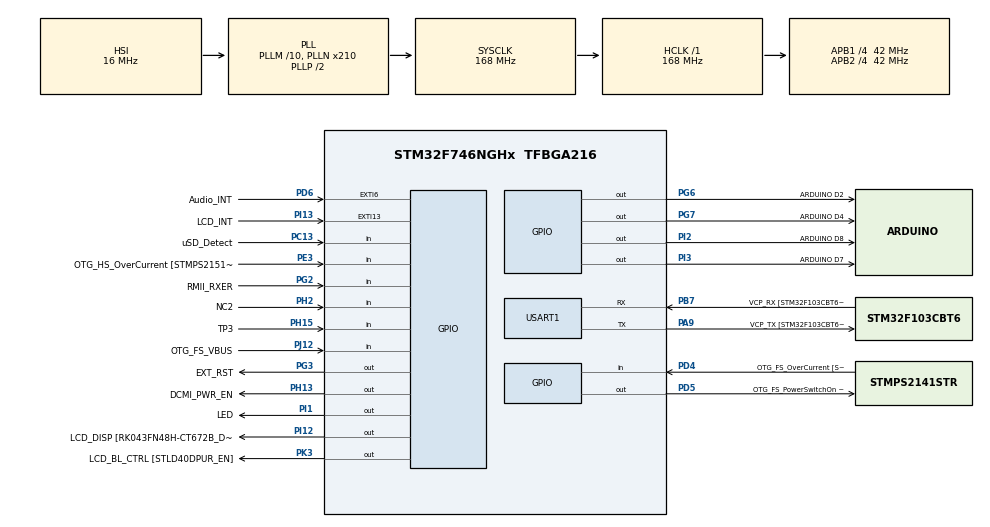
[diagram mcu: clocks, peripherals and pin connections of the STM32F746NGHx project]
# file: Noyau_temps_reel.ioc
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FREERTOS.Tasks01=defaultTask,0,128,StartDefaultTask,Default,NULL,Dynamic,NULL,NULL
FREERTOS.configCHECK_FOR_STACK_OVERFLOW=1
FREERTOS.configGENERATE_RUN_TIME_STATS=1
FREERTOS.configLIBRARY_MAX_SYSCALL_INTERRUPT_PRIORITY=8
FREERTOS.configTOTAL_HEAP_SIZE=65536
FREERTOS.configUSE_NEWLIB_REENTRANT=1
FREERTOS.configUSE_STATS_FORMATTING_FUNCTIONS=1
FREERTOS.configUSE_TRACE_FACILITY=1
Mcu.Family=STM32F7
Mcu.Name=STM32F746NGHx
Mcu.Package=TFBGA216
NVIC.PriorityGroup=NVIC_PRIORITYGROUP_4
NVIC.TIM1_UP_TIM10_IRQn=true\:8\:0\:true\:false\:true\:true\:true\:true\:true
NVIC.TIM6_DAC_IRQn=true\:15\:0\:false\:false\:true\:false\:false\:true\:true
NVIC.TimeBase=TIM6_DAC_IRQn
NVIC.TimeBaseIP=TIM6
NVIC.USART1_IRQn=true\:8\:0\:true\:false\:true\:true\:true\:true\:true
PA0/WKUP.GPIO_Label=ARDUINO A0
PA0/WKUP.GPIO_Mode=GPIO_MODE_ANALOG
PA0/WKUP.GPIO_PuPd=GPIO_NOPULL
PA0/WKUP.Signal=ADCx_IN0
PA1.GPIO_Label=RMII_REF_CLK [LAN8742A-CZ-TR_REFCLK0]
PA1.Signal=ETH_REF_CLK
PA10.GPIO_Label=OTG_FS_ID
PA10.Signal=USB_OTG_FS_ID
PA11.GPIO_Label=OTG_FS_N
PA11.Signal=USB_OTG_FS_DM
PA12.GPIO_Label=OTG_FS_P
PA12.Signal=USB_OTG_FS_DP
PA13.GPIO_Label=SWDIO
PA13.Signal=SYS_JTMS-SWDIO
PA14.GPIO_Label=SWCLK
PA14.Signal=SYS_JTCK-SWCLK
PA15.GPIO_Label=ARDUINO PWM/D9
PA15.GPIO_ModeDefaultPP=GPIO_MODE_AF_PP
PA15.GPIO_PuPd=GPIO_NOPULL
PA15.GPIO_Speed=GPIO_SPEED_FREQ_LOW
PA15.Signal=S_TIM2_CH1_ETR
PA2.GPIO_Label=RMII_MDIO [LAN8742A-CZ-TR_MDIO]
PA2.Signal=ETH_MDIO
PA3.GPIO_Label=ULPI_D0 [USB3320C-EZK_D0]
PA3.Signal=USB_OTG_HS_ULPI_D0
PA4.GPIO_Label=DCMI_HSYNC
PA4.Signal=DCMI_HSYNC
PA5.GPIO_Label=ULPI_CLK [USB3320C-EZK_CLKOUT]
PA5.Signal=USB_OTG_HS_ULPI_CK
PA6.Signal=DCMI_PIXCLK
PA7.GPIO_Label=RMII_CRS_DV [LAN8742A-CZ-TR_CRS_DV]
PA7.Signal=ETH_CRS_DV
PA8.GPIO_Label=ARDUINO PWM/D10
PA8.GPIO_ModeDefaultPP=GPIO_MODE_AF_PP
PA8.GPIO_PuPd=GPIO_NOPULL
PA8.GPIO_Speed=GPIO_SPEED_FREQ_LOW
PA8.Signal=S_TIM1_CH1
PA9.GPIO_Label=VCP_TX [STM32F103CBT6_PA3]
PA9.GPIO_Mode=GPIO_MODE_AF_PP
PA9.GPIO_PuPd=GPIO_NOPULL
PA9.GPIO_Speed=GPIO_SPEED_FREQ_LOW
PA9.Mode=Asynchronous
PA9.Signal=USART1_TX
PB0.GPIO_Label=ULPI_D1 [USB3320C-EZK_D1]
PB0.Signal=USB_OTG_HS_ULPI_D1
PB1.GPIO_Label=ULPI_D2 [USB3320C-EZK_D2]
PB1.Signal=USB_OTG_HS_ULPI_D2
PB10.GPIO_Label=ULPI_D3 [USB3320C-EZK_D3]
PB10.Signal=USB_OTG_HS_ULPI_D3
PB11.GPIO_Label=ULPI_D4 [USB3320C-EZK_D4]
PB11.Signal=USB_OTG_HS_ULPI_D4
PB12.GPIO_Label=ULPI_D5 [USB3320C-EZK_D5]
PB12.Signal=USB_OTG_HS_ULPI_D5
PB13.GPIO_Label=ULPI_D6 [USB3320C-EZK_D6]
PB13.Signal=USB_OTG_HS_ULPI_D6
PB14.GPIO_Label=ARDUINO MISO/D12
PB14.GPIO_Mode=GPIO_MODE_AF_PP
PB14.GPIO_PuPd=GPIO_NOPULL
PB14.GPIO_Speed=GPIO_SPEED_FREQ_LOW
PB14.Signal=SPI2_MISO
PB15.GPIO_Label=ARDUINO MOSI/PWM/D11
PB15.GPIO_Mode=GPIO_MODE_AF_PP
PB15.GPIO_PuPd=GPIO_NOPULL
PB15.GPIO_Speed=GPIO_SPEED_FREQ_LOW
PB15.Signal=SPI2_MOSI
PB2.Signal=QUADSPI_CLK
PB3.GPIO_Label=SWO
PB3.Signal=SYS_JTDO-SWO
PB4.GPIO_Label=ARDUINO PWM/D3
PB4.GPIO_ModeDefaultPP=GPIO_MODE_AF_PP
PB4.GPIO_PuPd=GPIO_NOPULL
PB4.GPIO_Speed=GPIO_SPEED_FREQ_LOW
PB4.Signal=S_TIM3_CH1
PB5.GPIO_Label=ULPI_D7 [USB3320C-EZK_D7]
PB5.Signal=USB_OTG_HS_ULPI_D7
PB6.GPIO_Label=QSPI_NCS [N25Q128A13EF840E_S]
PB6.Signal=QUADSPI_BK1_NCS
PB7.GPIO_Label=VCP_RX [STM32F103CBT6_PA2]
PB7.GPIO_Mode=GPIO_MODE_AF_PP
PB7.GPIO_PuPd=GPIO_NOPULL
PB7.GPIO_Speed=GPIO_SPEED_FREQ_LOW
PB7.Mode=Asynchronous
PB7.Signal=USART1_RX
PB8.GPIO_Label=ARDUINO SCL/D15
PB8.GPIO_Mode=GPIO_MODE_AF_OD
PB8.GPIO_PuPd=GPIO_NOPULL
PB8.GPIO_Speed=GPIO_SPEED_FREQ_LOW
PB8.Signal=I2C1_SCL
PB9.GPIO_Label=ARDUINO SDA/D14
PB9.GPIO_Mode=GPIO_MODE_AF_OD
PB9.GPIO_PuPd=GPIO_NOPULL
PB9.GPIO_Speed=GPIO_SPEED_FREQ_LOW
PB9.Signal=I2C1_SDA
PC0.GPIO_Label=ULPI_STP [USB3320C-EZK_STP]
PC0.Signal=USB_OTG_HS_ULPI_STP
PC1.GPIO_Label=RMII_MDC [LAN8742A-CZ-TR_MDC]
PC1.Signal=ETH_MDC
PC10.GPIO_Label=SDMMC_D2
PC10.Signal=SDMMC1_D2
PC11.GPIO_Label=SDMMC_D3
PC11.Signal=SDMMC1_D3
PC12.GPIO_Label=SDMMC_CK
PC12.Signal=SDMMC1_CK
PC13.GPIO_Label=uSD_Detect
PC13.Signal=GPIO_Input
PC14/OSC32_IN.GPIO_Label=RCC_OSC32_IN
PC14/OSC32_IN.Signal=RCC_OSC32_IN
PC15/OSC32_OUT.GPIO_Label=RCC_OSC32_OUT
PC15/OSC32_OUT.Signal=RCC_OSC32_OUT
PC2.GPIO_Label=ULPI_DIR [USB3320C-EZK_DIR]
PC2.Signal=USB_OTG_HS_ULPI_DIR
PC3.GPIO_Label=FMC_SDCKE0 [MT48LC4M32B2B5-6A_CKE]
PC3.Signal=FMC_SDCKE0
PC4.GPIO_Label=RMII_RXD0 [LAN8742A-CZ-TR_RXD0]
PC4.Signal=ETH_RXD0
PC5.GPIO_Label=RMII_RXD1 [LAN8742A-CZ-TR_RXD1]
PC5.Signal=ETH_RXD1
PC6.GPIO_Label=ARDUINO TX/D1
PC6.Signal=USART6_TX
PC7.GPIO_Label=ARDUINO RX/D0
PC7.Signal=USART6_RX
PC8.Signal=SDMMC1_D0
PC9.Signal=SDMMC1_D1
PD0.GPIO_Label=FMC_D2 [MT48LC4M32B2B5-6A_DQ2]
PD0.Signal=FMC_D2_DA2
PD1.GPIO_Label=FMC_D3 [MT48LC4M32B2B5-6A_DQ3]
PD1.Signal=FMC_D3_DA3
PD10.GPIO_Label=FMC_D15 [MT48LC4M32B2B5-6A_DQ15]
PD10.Signal=FMC_D15_DA15
PD11.GPIO_Label=QSPI_D0 [N25Q128A13EF840E_DQ0]
PD11.Signal=QUADSPI_BK1_IO0
PD12.GPIO_Label=QSPI_D1 [N25Q128A13EF840E_DQ1]
PD12.Signal=QUADSPI_BK1_IO1
PD13.GPIO_Label=QSPI_D3 [N25Q128A13EF840E_DQ3]
PD13.Signal=QUADSPI_BK1_IO3
PD14.GPIO_Label=FMC_D0 [MT48LC4M32B2B5-6A_DQ0]
PD14.Signal=FMC_D0_DA0
PD15.GPIO_Label=FMC_D1 [MT48LC4M32B2B5-6A_DQ1]
PD15.Signal=FMC_D1_DA1
PD2.GPIO_Label=SDMMC_D0
PD2.Signal=SDMMC1_CMD
PD3.GPIO_Label=DCMI_D5
PD3.Signal=DCMI_D5
PD4.GPIO_Label=OTG_FS_OverCurrent [STMPS2141STR_Fault]
PD4.Signal=GPIO_Input
PD5.GPIO_Label=OTG_FS_PowerSwitchOn [STMPS2141STR_EN]
PD5.PinState=GPIO_PIN_SET
PD5.Signal=GPIO_Output
PD6.GPIO_Label=Audio_INT
PD6.GPIO_ModeDefaultEXTI=GPIO_MODE_EVT_RISING
PD6.Signal=GPXTI6
PD7.GPIO_Label=SPDIF_RX0 [74LVC1G04SE_4]
PD7.Signal=SPDIFRX_IN0
PD8.GPIO_Label=FMC_D13 [MT48LC4M32B2B5-6A_DQ13]
PD8.Signal=FMC_D13_DA13
PD9.GPIO_Label=FMC_D14 [MT48LC4M32B2B5-6A_DQ14]
PD9.Signal=FMC_D14_DA14
PE0.GPIO_Label=FMC_NBL0 [MT48LC4M32B2B5-6A_DQM0]
PE0.Signal=FMC_NBL0
PE1.GPIO_Label=FMC_NBL1 [MT48LC4M32B2B5-6A_DQM1]
PE1.Signal=FMC_NBL1
PE10.GPIO_Label=FMC_D7 [MT48LC4M32B2B5-6A_DQ7]
PE10.Signal=FMC_D7_DA7
PE11.GPIO_Label=FMC_D8 [MT48LC4M32B2B5-6A_DQ8]
PE11.Signal=FMC_D8_DA8
PE12.GPIO_Label=FMC_D9 [MT48LC4M32B2B5-6A_DQ9]
PE12.Signal=FMC_D9_DA9
PE13.GPIO_Label=FMC_D10 [MT48LC4M32B2B5-6A_DQ10]
PE13.Signal=FMC_D10_DA10
PE14.GPIO_Label=FMC_D11 [MT48LC4M32B2B5-6A_DQ11]
PE14.Signal=FMC_D11_DA11
PE15.GPIO_Label=FMC_D12 [MT48LC4M32B2B5-6A_DQ12]
PE15.Signal=FMC_D12_DA12
PE2.GPIO_Label=QSPI_D2 [N25Q128A13EF840E_DQ2]
PE2.Signal=QUADSPI_BK1_IO2
PE3.GPIO_Label=OTG_HS_OverCurrent [STMPS2151STR_FAULT]
PE3.Signal=GPIO_Input
PE4.GPIO_Label=LCD_B0 [RK043FN48H-CT672B_B0]
PE4.Signal=LTDC_B0
PE5.GPIO_Label=DCMI_D6
PE5.Signal=DCMI_D6
PE6.GPIO_Label=DCMI_D7
PE6.Signal=DCMI_D7
PE7.GPIO_Label=FMC_D4 [MT48LC4M32B2B5-6A_DQ4]
PE7.Signal=FMC_D4_DA4
PE8.GPIO_Label=FMC_D5 [MT48LC4M32B2B5-6A_DQ5]
PE8.Signal=FMC_D5_DA5
PE9.GPIO_Label=FMC_D6 [MT48LC4M32B2B5-6A_DQ6]
PE9.Signal=FMC_D6_DA6
PF0.GPIO_Label=FMC_A0 [MT48LC4M32B2B5-6A_A0]
PF0.Signal=FMC_A0
PF1.GPIO_Label=FMC_A1 [MT48LC4M32B2B5-6A_A1]
PF1.Signal=FMC_A1
PF10.GPIO_Label=ARDUINO A1
PF10.GPIO_Mode=GPIO_MODE_ANALOG
PF10.GPIO_PuPd=GPIO_NOPULL
PF10.Signal=ADC3_IN8
PF11.GPIO_Label=FMC_SDNRAS [MT48LC4M32B2B5-6A_RAS]
PF11.Signal=FMC_SDNRAS
PF12.GPIO_Label=FMC_A6 [MT48LC4M32B2B5-6A_A6]
PF12.Signal=FMC_A6
PF13.GPIO_Label=FMC_A7 [MT48LC4M32B2B5-6A_A7]
PF13.Signal=FMC_A7
PF14.GPIO_Label=FMC_A8 [MT48LC4M32B2B5-6A_A8]
PF14.Signal=FMC_A8
PF15.GPIO_Label=FMC_A9 [MT48LC4M32B2B5-6A_A9]
PF15.Signal=FMC_A9
PF2.GPIO_Label=FMC_A2 [MT48LC4M32B2B5-6A_A2]
PF2.Signal=FMC_A2
PF3.GPIO_Label=FMC_A3 [MT48LC4M32B2B5-6A_A3]
PF3.Signal=FMC_A3
PF4.GPIO_Label=FMC_A4 [MT48LC4M32B2B5-6A_A4]
PF4.Signal=FMC_A4
PF5.GPIO_Label=FMC_A5 [MT48LC4M32B2B5-6A_A5]
PF5.Signal=FMC_A5
PF6.GPIO_Label=ARDUINO A5
PF6.GPIO_Mode=GPIO_MODE_ANALOG
PF6.GPIO_PuPd=GPIO_NOPULL
PF6.Signal=ADC3_IN4
PF7.GPIO_Label=ARDUINO A4
PF7.GPIO_Mode=GPIO_MODE_ANALOG
PF7.GPIO_PuPd=GPIO_NOPULL
PF7.Signal=ADC3_IN5
PF8.GPIO_Label=ARDUINO A3
PF8.GPIO_Mode=GPIO_MODE_ANALOG
PF8.GPIO_PuPd=GPIO_NOPULL
PF8.Signal=ADC3_IN6
PF9.GPIO_Label=ARDUINO A2
PF9.GPIO_Mode=GPIO_MODE_ANALOG
PF9.GPIO_PuPd=GPIO_NOPULL
PF9.Signal=ADC3_IN7
PG0.GPIO_Label=FMC_A10 [MT48LC4M32B2B5-6A_A10]
PG0.Signal=FMC_A10
PG1.GPIO_Label=FMC_A11 [MT48LC4M32B2B5-6A_A11]
PG1.Signal=FMC_A11
PG10.GPIO_Label=SAI2_SDB [WM8994ECS/R_ADCDAT1]
PG10.Signal=SAI2_SD_B
PG11.GPIO_Label=RMII_TX_EN [LAN8742A-CZ-TR_TXEN]
PG11.Signal=ETH_TX_EN
PG12.GPIO_Label=LCD_B4 [RK043FN48H-CT672B_B4]
PG12.Signal=LTDC_B4
PG13.GPIO_Label=RMII_TXD0 [LAN8742A-CZ-TR_TXD0]
PG13.Signal=ETH_TXD0
PG14.GPIO_Label=RMII_TXD1 [LAN8742A-CZ-TR_TXD1]
PG14.Signal=ETH_TXD1
PG15.GPIO_Label=FMC_SDNCAS [MT48LC4M32B2B5-6A_CAS]
PG15.Signal=FMC_SDNCAS
PG2.GPIO_Label=RMII_RXER
PG2.Signal=GPIO_Input
PG3.GPIO_Label=EXT_RST
PG3.Signal=GPIO_Output
PG4.GPIO_Label=FMC_BA0 [MT48LC4M32B2B5-6A_BA0]
PG4.Signal=FMC_A14_BA0
PG5.GPIO_Label=FMC_BA1 [MT48LC4M32B2B5-6A_BA1]
PG5.Signal=FMC_A15_BA1
PG6.GPIO_Label=ARDUINO D2
PG6.Signal=GPIO_Output
PG7.GPIO_Label=ARDUINO D4
PG7.Signal=GPIO_Output
PG8.GPIO_Label=FMC_SDCLK [MT48LC4M32B2B5-6A_CLK]
PG8.Signal=FMC_SDCLK
PG9.GPIO_Label=DCMI_VSYNC
PG9.Signal=DCMI_VSYNC
PH0/OSC_IN.GPIO_Label=OSC_25M [NZ2520SB-25.00M_OUT]
PH0/OSC_IN.Signal=RCC_OSC_IN
PH1/OSC_OUT.Signal=RCC_OSC_OUT
PH10.GPIO_Label=DCMI_D1
PH10.Signal=DCMI_D1
PH11.GPIO_Label=DCMI_D2
PH11.Signal=DCMI_D2
PH12.GPIO_Label=DCMI_D3
PH12.Signal=DCMI_D3
PH13.GPIO_Label=DCMI_PWR_EN
PH13.Signal=GPIO_Output
PH14.GPIO_Label=DCMI_D4
PH14.Signal=DCMI_D4
PH15.GPIO_Label=TP3
PH15.Signal=GPIO_Input
PH2.GPIO_Label=NC2
PH2.Signal=GPIO_Input
PH3.GPIO_Label=FMC_SDNE0 [MT48LC4M32B2B5-6A_CS]
PH3.Signal=FMC_SDNE0
PH4.GPIO_Label=ULPI_NXT [USB3320C-EZK_NXT]
PH4.Signal=USB_OTG_HS_ULPI_NXT
PH5.GPIO_Label=FMC_SDNME [MT48LC4M32B2B5-6A_WE]
PH5.Signal=FMC_SDNWE
PH6.GPIO_Label=ARDUINO PWM/D6
PH6.Signal=S_TIM12_CH1
PH7.GPIO_Label=LCD_SCL [RK043FN48H-CT672B_SCL]
PH7.Signal=I2C3_SCL
PH8.GPIO_Label=LCD_SDA [RK043FN48H-CT672B_SDA]
PH8.Signal=I2C3_SDA
PH9.GPIO_Label=DCMI_D0
PH9.Signal=DCMI_D0
PI0.GPIO_Label=ARDUINO PWM/CS/D5
PI0.GPIO_ModeDefaultPP=GPIO_MODE_AF_PP
PI0.GPIO_PuPd=GPIO_NOPULL
PI0.GPIO_Speed=GPIO_SPEED_FREQ_LOW
PI0.Signal=S_TIM5_CH4
PI1.GPIO_Label=LED
PI1.Signal=GPIO_Output
PI10.GPIO_Label=LCD_HSYNC [RK043FN48H-CT672B_HSYNC]
PI10.Signal=LTDC_HSYNC
PI12.GPIO_Label=LCD_DISP [RK043FN48H-CT672B_DISP] 
PI12.Signal=GPIO_Output
PI13.GPIO_Label=LCD_INT
PI13.GPIO_ModeDefaultEXTI=GPIO_MODE_EVT_RISING
PI13.Signal=GPXTI13
PI14.GPIO_Label=LCD_CLK [RK043FN48H-CT672B_CLK]
PI14.Signal=LTDC_CLK
PI15.GPIO_Label=LCD_R0 [RK043FN48H-CT672B_R0]
PI15.Signal=LTDC_R0
PI2.GPIO_Label=ARDUINO D8
PI2.Signal=GPIO_Output
PI3.GPIO_Label=ARDUINO D7
PI3.Signal=GPIO_Output
PI4.GPIO_Label=SAI2_MCLKA [WM8994ECS/R_MCLK1]
PI4.Signal=SAI2_MCLK_A
PI5.GPIO_Label=SAI2_SCKA [WM8994ECS/R_BCLK1]
PI5.Signal=SAI2_SCK_A
PI7.GPIO_Label=SAI2_FSA [WM8994ECS/R_LRCLK1]
PI7.Signal=SAI2_FS_A
PI8.GPIO_Label=NC1 [TP2]
PI8.Signal=RTC_TS
PI9.GPIO_Label=LCD_VSYNC [RK043FN48H-CT672B_VSYNC]
PI9.Signal=LTDC_VSYNC
PJ0.GPIO_Label=LCD_R1 [RK043FN48H-CT672B_R1]
PJ0.Signal=LTDC_R1
PJ1.GPIO_Label=LCD_R2 [RK043FN48H-CT672B_R2]
PJ1.Signal=LTDC_R2
PJ10.GPIO_Label=LCD_G3 [RK043FN48H-CT672B_G3]
PJ10.Signal=LTDC_G3
PJ11.GPIO_Label=LCD_G4 [RK043FN48H-CT672B_G4]
PJ11.Signal=LTDC_G4
PJ12.GPIO_Label=OTG_FS_VBUS
PJ12.Signal=GPIO_Input
PJ13.GPIO_Label=LCD_B1 [RK043FN48H-CT672B_B1]
PJ13.Signal=LTDC_B1
PJ14.GPIO_Label=LCD_B2 [RK043FN48H-CT672B_B2]
PJ14.Signal=LTDC_B2
PJ15.GPIO_Label=LCD_B3 [RK043FN48H-CT672B_B3]
PJ15.Signal=LTDC_B3
PJ2.GPIO_Label=LCD_R3 [RK043FN48H-CT672B_R3]
PJ2.Signal=LTDC_R3
PJ3.GPIO_Label=LCD_R4 [RK043FN48H-CT672B_R4]
PJ3.Signal=LTDC_R4
PJ4.GPIO_Label=LCD_R5 [RK043FN48H-CT672B_R5]
PJ4.Signal=LTDC_R5
PJ5.GPIO_Label=LCD_R6 [RK043FN48H-CT672B_R6]
PJ5.Signal=LTDC_R6
PJ6.GPIO_Label=LCD_R7 [RK043FN48H-CT672B_R7]
PJ6.Signal=LTDC_R7
PJ7.GPIO_Label=LCD_G0 [RK043FN48H-CT672B_G0]
PJ7.Signal=LTDC_G0
PJ8.GPIO_Label=LCD_G1 [RK043FN48H-CT672B_G1]
PJ8.Signal=LTDC_G1
PJ9.GPIO_Label=LCD_G2 [RK043FN48H-CT672B_G2]
PJ9.Signal=LTDC_G2
PK0.GPIO_Label=LCD_G5 [RK043FN48H-CT672B_G5]
PK0.Signal=LTDC_G5
PK1.GPIO_Label=LCD_G6 [RK043FN48H-CT672B_G6]
PK1.Signal=LTDC_G6
PK2.GPIO_Label=LCD_G7 [RK043FN48H-CT672B_G7]
PK2.Signal=LTDC_G7
PK3.GPIO_Label=LCD_BL_CTRL [STLD40DPUR_EN]
PK3.Signal=GPIO_Output
PK4.GPIO_Label=LCD_B5 [RK043FN48H-CT672B_B5]
PK4.Signal=LTDC_B5
PK5.GPIO_Label=LCD_B6 [RK043FN48H-CT672B_B6]
PK5.Signal=LTDC_B6
PK6.GPIO_Label=LCD_B7 [RK043FN48H-CT672B_B7]
PK6.Signal=LTDC_B7
PK7.GPIO_Label=LCD_DE [RK043FN48H-CT672B_DE]
PK7.Signal=LTDC_DE
ProjectManager.HeapSize=0x200
ProjectManager.StackSize=0x400
ProjectManager.TargetToolchain=STM32CubeIDE
RCC.AHBFreq_Value=168000000
RCC.APB1CLKDivider=RCC_HCLK_DIV4
RCC.APB1Freq_Value=42000000
RCC.APB1TimFreq_Value=84000000
RCC.APB2CLKDivider=RCC_HCLK_DIV4
RCC.APB2Freq_Value=42000000
RCC.APB2TimFreq_Value=84000000
RCC.CortexFreq_Value=168000000
RCC.HCLKFreq_Value=168000000
RCC.HSE_VALUE=25000000
RCC.HSI_VALUE=16000000
RCC.LSE_VALUE=32768
RCC.PLLM=10
RCC.PLLN=210
RCC.PLLSourceVirtual=RCC_PLLSOURCE_HSI
RCC.SYSCLKFreq_VALUE=168000000
RCC.SYSCLKSource=RCC_SYSCLKSOURCE_PLLCLK
RCC.USBFreq_Value=168000000
RCC.VCOOutputFreq_Value=336000000
SH.ADCx_IN0.0=ADC3_IN0
SH.FMC_A0.0=FMC_A0
SH.FMC_A1.0=FMC_A1
SH.FMC_A10.0=FMC_A10
SH.FMC_A11.0=FMC_A11
SH.FMC_A14_BA0.0=FMC_BA0
SH.FMC_A15_BA1.0=FMC_BA1
SH.FMC_A2.0=FMC_A2
SH.FMC_A3.0=FMC_A3
SH.FMC_A4.0=FMC_A4
SH.FMC_A5.0=FMC_A5
SH.FMC_A6.0=FMC_A6
SH.FMC_A7.0=FMC_A7
SH.FMC_A8.0=FMC_A8
SH.FMC_A9.0=FMC_A9
SH.FMC_D0_DA0.0=FMC_D0
SH.FMC_D10_DA10.0=FMC_D10
SH.FMC_D11_DA11.0=FMC_D11
SH.FMC_D12_DA12.0=FMC_D12
SH.FMC_D13_DA13.0=FMC_D13
SH.FMC_D14_DA14.0=FMC_D14
SH.FMC_D15_DA15.0=FMC_D15
SH.FMC_D1_DA1.0=FMC_D1
SH.FMC_D2_DA2.0=FMC_D2
SH.FMC_D3_DA3.0=FMC_D3
SH.FMC_D4_DA4.0=FMC_D4
SH.FMC_D5_DA5.0=FMC_D5
SH.FMC_D6_DA6.0=FMC_D6
SH.FMC_D7_DA7.0=FMC_D7
SH.FMC_D8_DA8.0=FMC_D8
SH.FMC_D9_DA9.0=FMC_D9
SH.FMC_NBL0.0=FMC_NBL0
SH.FMC_NBL1.0=FMC_NBL1
SH.FMC_SDCLK.0=FMC_SDCLK
SH.FMC_SDNCAS.0=FMC_SDNCAS
SH.FMC_SDNRAS.0=FMC_SDNRAS
SH.FMC_SDNWE.0=FMC_SDNWE
SH.S_TIM12_CH1.0=TIM12_CH1
SH.S_TIM1_CH1.0=TIM1_CH1
SH.S_TIM2_CH1_ETR.0=TIM2_CH1
SH.S_TIM3_CH1.0=TIM3_CH1
SH.S_TIM5_CH4.0=TIM5_CH4
TIM10.Period=840-1
USART1.VirtualMode-Asynchronous=VM_ASYNC
VP_FREERTOS_VS_CMSIS_V1.Mode=CMSIS_V1
VP_SYS_VS_tim6.Mode=TIM6
VP_TIM10_VS_ClockSourceINT.Mode=Enable_Timer
board=STM32F746G-DISCO

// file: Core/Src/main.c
/* USER CODE BEGIN Header */
/**
 ******************************************************************************
 * @file           : main.c
 * @brief          : Main program body
 ******************************************************************************
 * @attention
 *
 * Copyright (c) 2022 STMicroelectronics.
 * All rights reserved.
 *
 * This software is licensed under terms that can be found in the LICENSE file
 * in the root directory of this software component.
 * If no LICENSE file comes with this software, it is provided AS-IS.
 *
 ******************************************************************************
 */
/* USER CODE END Header */
#include "main.h"
#include "cmsis_os.h"
#include "tim.h"
#include "usart.h"
#include "gpio.h"

/* USER CODE BEGIN Includes */
#include <stdio.h>
#include <stdlib.h>
#include "basic_shell.h"

#include "fonctions_shell.h"
/* USER CODE END Includes */

/* USER CODE BEGIN PM */
BaseType_t xReturned;
SemaphoreHandle_t semaphori ,semaphore_led;

TaskHandle_t xHandleLED, xHandleSHELL = NULL;
TaskHandle_t xHandleBidon1 , xHandleBidon2, xHandleBidon3, xHandleBidon4, xHandleBidon5, xHandleBidon6, xHandleBidon7, xHandleBidon8  = NULL;

/* USER CODE END PM */

/* USER CODE BEGIN PV */

int LED_DELAY = 500;
int BIDON_FLAG = 0;
int SOV_FLAG = 0;

/* USER CODE END PV */

void SystemClock_Config(void);
void MX_FREERTOS_Init(void);

/* USER CODE BEGIN 0 */

volatile unsigned long ulHighFrequencyTimerTicks;

void configureTimerForRunTimeStats(void) {
  ulHighFrequencyTimerTicks = 0;
  HAL_TIM_Base_Start_IT(&htim10);
}

unsigned long getRunTimeCounterValue(void) {
  return ulHighFrequencyTimerTicks;
}

int __io_putchar(int ch)
{
	HAL_UART_Transmit(&huart1, (uint8_t*)&ch, 1, HAL_MAX_DELAY);

	return ch;
}

/*
 * Code d'une tache bidon
 */
void codeTache (void * pvParameters) {
	int compteur = 0;
	int duree = (int) pvParameters;
	char* s = pcTaskGetName(xTaskGetCurrentTaskHandle());
	while (1) {
		printf("Je suis la tache %s et je m'endors pour %d periodes\n", s, duree);
		vTaskDelay(duree);
		compteur++;
	}
}

/* USER CODE END 0 */

int main(void)
{

  /* MCU Configuration--------------------------------------------------------*/

  /* Reset of all peripherals, Initializes the Flash interface and the Systick. */
  HAL_Init();

  /* Configure the system clock */
  SystemClock_Config();

  /* Initialize all configured peripherals */
  MX_GPIO_Init();
  MX_USART1_UART_Init();
  MX_TIM10_Init();
  /* USER CODE BEGIN 2 */
  printf("Init\r\n");
  semaphori = xSemaphoreCreateBinary();
  semaphore_led = xSemaphoreCreateBinary();

  if (semaphori == NULL) Error_Handler();
  if (semaphore_led == NULL) Error_Handler();

  xReturned = xTaskCreate(
    		led, 			// Function that implements the task.
    		"LED", 			// Text name for the task.
    		STACK_SIZE, 	// Stack size in words, not bytes.
    		(void *)LED_DELAY, // Parameter passed into the task.
    		LED_PRIORITY,	// Priority at which the task is created.
    		&xHandleLED ); // Used to pass out the created task's handle.

  if(xReturned == pdTRUE)
  {
	  printf("LED task created \r\n");
  }
  else
  {
	  printf("Error LED task not created \r\n");
	  Error_Handler();
  }

  xReturned = xTaskCreate(
      		shell_run, /* Function that implements the task. */
      		"SHELL", /* Text name for the task. */
      		STACK_SIZE, /* Stack size in words, not bytes. */
      		(void *) pdTRUE, /* Parameter passed into the task. */
      		SHELL_PRIORITY,/* Priority at which the task is created. */
      		&xHandleSHELL ); /* Used to pass out the created task's handle. */

  if(xReturned == pdTRUE)
  {
	  printf("Shell task created \r\n");
  }
  else
  {
	  printf("Error Shell task not created \r\n");
	  Error_Handler();
  }

  /*
   * Debut de fonction bidons à STACK_SIZE_BIDON 4096
   */

  if (SOV_FLAG){
	  xReturned = xTaskCreate(
				codeTache, 			// Function that implements the task.
				"Bidon1", 			// Text name for the task.
				small_STACK_SIZE, 	// Stack size in words, not bytes.
				(void *)NULL, // Parameter passed into the task.
				BIDON_PRIORITY,	// Priority at which the task is created.
				&xHandleBidon1 ); // Used to pass out the created task's handle.

	  if(xReturned == pdTRUE)
	  {
		  printf("Bidon1 task created \r\n");
	  }
	  else
	  {
		  printf("Error Bidon1 task not created \r\n");
		  Error_Handler();
	  }
  }

  if (BIDON_FLAG){

	  xReturned = xTaskCreate(
				codeTache, 			// Function that implements the task.
				"Bidon2", 			// Text name for the task.
				STACK_SIZE, 	// Stack size in words, not bytes.
				(void *)NULL, // Parameter passed into the task.
				BIDON_PRIORITY,	// Priority at which the task is created.
				&xHandleBidon2 ); // Used to pass out the created task's handle.

	  if(xReturned == pdTRUE)
	  {
		  printf("Bidon2 task created \r\n");
	  }
	  else
	  {
		  printf("Error Bidon2 task not created \r\n");
		  Error_Handler();
	  }

	  xReturned = xTaskCreate(
				codeTache, 			// Function that implements the task.
				"Bidon3", 			// Text name for the task.
				STACK_SIZE_BIDON, 	// Stack size in words, not bytes.
				(void *)NULL, // Parameter passed into the task.
				BIDON_PRIORITY,	// Priority at which the task is created.
				&xHandleBidon3 ); // Used to pass out the created task's handle.

	  if(xReturned == pdTRUE)
	  {
		  printf("Bidon3 task created \r\n");
	  }
	  else
	  {
		  printf("Error Bidon3 task not created \r\n");
		  Error_Handler();
	  }

  }

	shell_init();
	shell_add('f', fonction, "Une fonction inutile");
	shell_add('a', addition, "addition de deux entiers");
	shell_add('l', setLedRate, "faire clignoter la led a la frequence 1/p");
	shell_add('s', spammer, "spam un mot le nombre que vous donnez en argument");

	vTaskStartScheduler();

	//shell_run(&h_shell); <-- plus besoin car appelée a la creation de la task
  /* USER CODE END 2 */

  /* Call init function for freertos objects (in freertos.c) */
  MX_FREERTOS_Init();

  /* Start scheduler */
  osKernelStart();

  /* We should never get here as control is now taken by the scheduler */
  /* Infinite loop */
	while (1)
	{

	}
}

void SystemClock_Config(void)
{
  RCC_OscInitTypeDef RCC_OscInitStruct = {0};
  RCC_ClkInitTypeDef RCC_ClkInitStruct = {0};

  /** Configure the main internal regulator output voltage
  */
  __HAL_RCC_PWR_CLK_ENABLE();
  __HAL_PWR_VOLTAGESCALING_CONFIG(PWR_REGULATOR_VOLTAGE_SCALE2);

  /** Initializes the RCC Oscillators according to the specified parameters
  * in the RCC_OscInitTypeDef structure.
  */
  RCC_OscInitStruct.OscillatorType = RCC_OSCILLATORTYPE_HSI;
  RCC_OscInitStruct.HSIState = RCC_HSI_ON;
  RCC_OscInitStruct.HSICalibrationValue = RCC_HSICALIBRATION_DEFAULT;
  RCC_OscInitStruct.PLL.PLLState = RCC_PLL_ON;
  RCC_OscInitStruct.PLL.PLLSource = RCC_PLLSOURCE_HSI;
  RCC_OscInitStruct.PLL.PLLM = 10;
  RCC_OscInitStruct.PLL.PLLN = 210;
  RCC_OscInitStruct.PLL.PLLP = RCC_PLLP_DIV2;
  RCC_OscInitStruct.PLL.PLLQ = 2;
  if (HAL_RCC_OscConfig(&RCC_OscInitStruct) != HAL_OK)
  {
    Error_Handler();
  }

  /** Initializes the CPU, AHB and APB buses clocks
  */
  RCC_ClkInitStruct.ClockType = RCC_CLOCKTYPE_HCLK|RCC_CLOCKTYPE_SYSCLK
                              |RCC_CLOCKTYPE_PCLK1|RCC_CLOCKTYPE_PCLK2;
  RCC_ClkInitStruct.SYSCLKSource = RCC_SYSCLKSOURCE_PLLCLK;
  RCC_ClkInitStruct.AHBCLKDivider = RCC_SYSCLK_DIV1;
  RCC_ClkInitStruct.APB1CLKDivider = RCC_HCLK_DIV4;
  RCC_ClkInitStruct.APB2CLKDivider = RCC_HCLK_DIV4;

  if (HAL_RCC_ClockConfig(&RCC_ClkInitStruct, FLASH_LATENCY_5) != HAL_OK)
  {
    Error_Handler();
  }
}

void HAL_TIM_PeriodElapsedCallback(TIM_HandleTypeDef *htim)
{
  if (htim->Instance == TIM6) {
    HAL_IncTick();
  }
}

void Error_Handler(void)
{
	__disable_irq();
	while (1)
	{
	}
}

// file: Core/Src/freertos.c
/* USER CODE BEGIN Header */
/**
  ******************************************************************************
  * File Name          : freertos.c
  * Description        : Code for freertos applications
  ******************************************************************************
  * @attention
  *
  * Copyright (c) 2023 STMicroelectronics.
  * All rights reserved.
  *
  * This software is licensed under terms that can be found in the LICENSE file
  * in the root directory of this software component.
  * If no LICENSE file comes with this software, it is provided AS-IS.
  *
  ******************************************************************************
  */
/* USER CODE END Header */

#include "FreeRTOS.h"
#include "task.h"
#include "main.h"
#include "cmsis_os.h"

osThreadId defaultTaskHandle;

void StartDefaultTask(void const * argument);

void MX_FREERTOS_Init(void); /* (MISRA C 2004 rule 8.1) */

/* GetIdleTaskMemory prototype (linked to static allocation support) */
void vApplicationGetIdleTaskMemory( StaticTask_t **ppxIdleTaskTCBBuffer, StackType_t **ppxIdleTaskStackBuffer, uint32_t *pulIdleTaskStackSize );

/* Hook prototypes */
void configureTimerForRunTimeStats(void);
unsigned long getRunTimeCounterValue(void);
void vApplicationStackOverflowHook(xTaskHandle xTask, signed char *pcTaskName);

/* USER CODE BEGIN 1 */
/* Functions needed when configGENERATE_RUN_TIME_STATS is on */
__weak void configureTimerForRunTimeStats(void)
{

}

__weak unsigned long getRunTimeCounterValue(void)
{
return 0;
}
/* USER CODE END 1 */

/* USER CODE BEGIN 4 */
__weak void vApplicationStackOverflowHook(xTaskHandle xTask, signed char *pcTaskName)
{
   /* Run time stack overflow checking is performed if
   configCHECK_FOR_STACK_OVERFLOW is defined to 1 or 2. This hook function is
   called if a stack overflow is detected. */
}
/* USER CODE END 4 */

/* USER CODE BEGIN GET_IDLE_TASK_MEMORY */
static StaticTask_t xIdleTaskTCBBuffer;
static StackType_t xIdleStack[configMINIMAL_STACK_SIZE];

void vApplicationGetIdleTaskMemory( StaticTask_t **ppxIdleTaskTCBBuffer, StackType_t **ppxIdleTaskStackBuffer, uint32_t *pulIdleTaskStackSize )
{
  *ppxIdleTaskTCBBuffer = &xIdleTaskTCBBuffer;
  *ppxIdleTaskStackBuffer = &xIdleStack[0];
  *pulIdleTaskStackSize = configMINIMAL_STACK_SIZE;
  /* place for user code */
}
/* USER CODE END GET_IDLE_TASK_MEMORY */

void MX_FREERTOS_Init(void) {

  /* Create the thread(s) */
  /* definition and creation of defaultTask */
  osThreadDef(defaultTask, StartDefaultTask, osPriorityNormal, 0, 128);
  defaultTaskHandle = osThreadCreate(osThread(defaultTask), NULL);

}

void StartDefaultTask(void const * argument)
{
  for(;;)
  {
    osDelay(1);
  }
}
